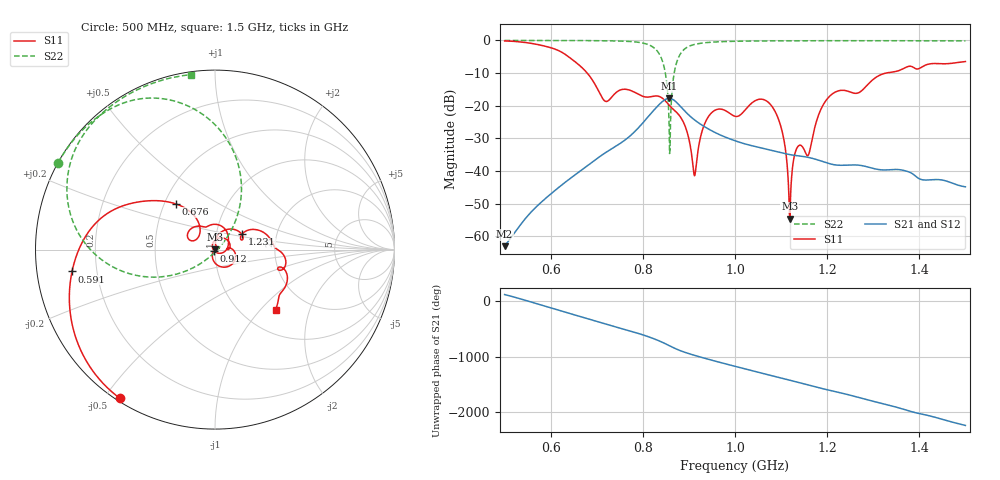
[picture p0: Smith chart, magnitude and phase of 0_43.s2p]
! TOUCHSTONE file generated by CST MICROWAVE STUDIO
! Date and time: Mon Sep 28 15:31:13 2020
! Project name: Scenario_1_Free_SPace.cst
! Parameters = {dx1=900.7; L_HA=400; MT=2.54; Rad_Dielectric=30; Rad_Lower=7.3; Rad_Upper=30; a_HA=580; a_WG=246; b_HA=500; b_WG=121; c_HA=0; c_WG=187; d_feed=85; h_feed=15; h_lower=18; h_upper=40}
! Header version: 2018
! Port assignment regex: !\s*Touchstone port\s*([0-9]+)\s*=\s*(CST MWS port|CST DS port)\s*([0-9]+|Zmin|Zmax)\s*\(\"(.*)\"\)(\s*mode\s*([0-9]+))?.*
! Touchstone port assignment:
! Touchstone port 1 = CST MWS port 1 ("")
! Touchstone port 2 = CST MWS port 2 ("")
# GHz S DB R 50
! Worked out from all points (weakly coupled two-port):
!   1003 points, 500 MHz to 1.5 GHz, reference 50 ohm
!   highest |S21| = -17.76 dB at 857 MHz (marker M1); lowest = -63.1 dB at 500 MHz (marker M2)
!   lowest |S11| = -54.6 dB at 1.119 GHz (marker M3), VSWR 1.00, Z = 49.9 + j0.167 ohm
!   |S11| at or under -10 dB: 679.2 MHz to 1.328 GHz (648.6 MHz wide, 64.6 % of centre)
!   |S22| runs from -34.7 to 0.0 dB; largest |S21 - S12| = 0.00016
!   S11 on the Smith chart (normalised r, x): 500 MHz: 0.01, -0.55; 591 MHz: 0.11, -0.07; 676 MHz: 0.57, +0.33; 912 MHz: 0.99, -0.01; 1.231 GHz: 1.33, +0.23; 1.5 GHz: 1.41, -1.21
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0.5  -0.15 -122.6  -63.07 124.1  -63.16 124.3  -0.01 151.1
0.591  -1.88 -171.3  -48.17 -95.1  -48.16 -94.7  -0.02 144.8
0.667  -8.21 136.2  -39.73 81.1  -39.77 81.0  -0.04 138.3
0.676  -9.49 130.6  -38.78 59.5  -38.82 59.5  -0.05 137.4
0.719  -18.68 141.5  -34.41 -46.1  -34.40 -46.1  -0.11 132.3
0.787  -16.26 122.1  -27.29 151.2  -27.29 151.2  -0.50 117.7
0.834  -17.11 82.2  -19.85 13.6  -19.85 13.7  -3.77 86.2
0.848  -18.41 57.3  -18.17 -38.6  -18.17 -38.6  -9.37 64.5
0.857  -19.83 43.5  -17.76 -75.4  -17.76 -75.4  -25.81 37.6
0.876  -22.47 14.9  -19.38 -149.6  -19.38 -149.6  -5.69 -166.0
0.912  -41.50 -138.8  -24.35 108.3  -24.35 108.3  -1.23 161.3
0.945  -22.84 65.7  -27.36 30.6  -27.36 30.6  -0.58 150.0
1  -23.26 0.5  -30.75 -89.7  -30.75 -89.7  -0.26 140.2
1.08  -20.17 -73.5  -33.72 100.6  -33.72 100.6  -0.13 131.4
1.103  -28.32 -113.2  -34.51 52.1  -34.51 52.1  -0.12 129.4
1.119  -54.63 115.8  -35.01 19.1  -35.00 19.1  -0.11 128.0
1.134  -33.09 27.7  -35.32 -12.0  -35.33 -11.9  -0.11 126.8
1.167  -30.56 83.5  -36.12 -83.4  -36.09 -83.3  -0.10 124.1
1.193  -19.35 69.1  -37.27 -138.3  -37.28 -138.3  -0.09 122.1
1.231  -15.29 29.6  -38.28 148.4  -38.29 148.4  -0.08 119.2
1.334  -9.84 6.7  -39.67 -69.5  -39.69 -69.7  -0.09 111.4
1.5  -6.48 -44.7  -44.87 -75.8  -44.92 -76.0  -0.14 97.8
